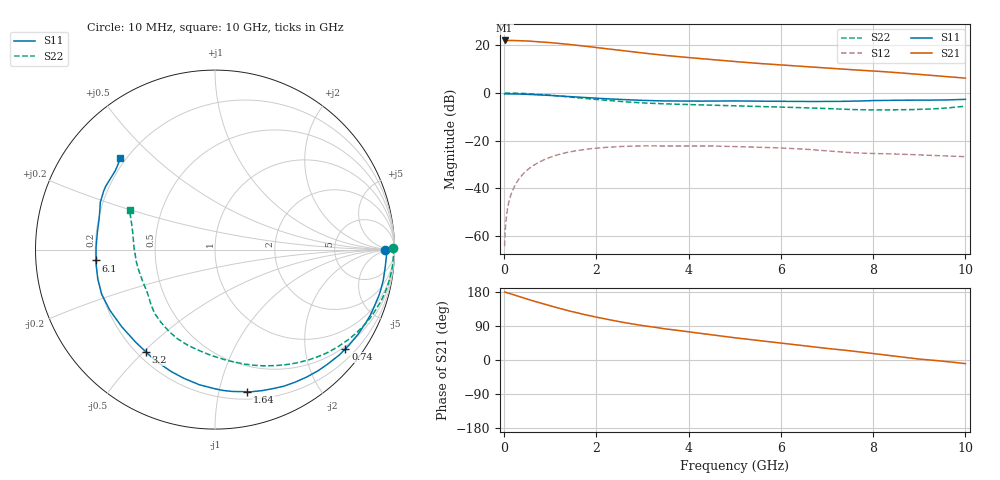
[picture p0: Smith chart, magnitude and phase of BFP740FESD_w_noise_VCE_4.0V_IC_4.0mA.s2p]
! Infineon Technologies  Discrete & RF Semiconductors
! BFP740FESD
! VCE =  4.0 V,  IC =  4.0 mA
! Common Emitter S-Parameters:  Jan 2016
# GHz  S  MA  R  50
!  f  S11  S21  S12  S22
! GHz  MAG  ANG  MAG  ANG  MAG  ANG  MAG  ANG
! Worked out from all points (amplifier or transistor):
!   233 points, 10 MHz to 10 GHz, reference 50 ohm
!   highest |S21| = 22.1 dB at 10 MHz (marker M1)
!   |S21| within 3 dB of that: start of sweep to 2.01 GHz
!   unconditionally stable (mu >= 1): start of sweep to 10.23 MHz; 7.301 GHz to end of sweep
!   at 200 MHz: K = 0.06, MSG = 31.2 dB, |S12| = -40.3 dB
!   at 1.74 GHz: K = 0.17, MSG = 21.7 dB, |S12| = -23.8 dB
!   at 10 GHz: K = 1.57, MAG = 12.1 dB, |S12| = -26.8 dB
!   lowest NFmin = 0.46 dB at 450 MHz
!   S11 on the Smith chart (normalised r, x): 10 MHz: 36, -1; 740 MHz: 0.44, -2.90; 1.64 GHz: 0.26, -1.22; 3.2 GHz: 0.24, -0.51; 6.1 GHz: 0.20, -0.04; 10 GHz: 0.18, +0.39
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0.01  0.9456 -0.1  12.7 179.5  0.0006 22.5  0.9895 0.5
0.02  0.958 -0.9  12.62 179.1  0.0012 53.1  0.9949 -0.7
0.06  0.9546 -3.2  12.61 177.5  0.003 74.8  0.9947 -2.1
0.16  0.9523 -8.2  12.68 173.8  0.0079 81.3  0.9927 -5.7
0.44  0.9395 -22.5  12.45 163.1  0.0211 74.5  0.9737 -15.4
0.74  0.9128 -37.3  11.97 152.0  0.0343 65.4  0.9368 -25.5
1  0.8862 -49.6  11.45 143.0  0.0445 57.8  0.8971 -33.9
1.2  0.8635 -58.7  10.99 136.3  0.0513 52.1  0.863 -40.2
1.4  0.8389 -67.5  10.5 129.8  0.0571 46.6  0.8264 -46.3
1.64  0.8124 -77.2  9.912 122.7  0.0627 40.6  0.7852 -53.0
1.68  0.8078 -78.7  9.81 121.6  0.0636 39.6  0.7787 -54.1
2.04  0.7714 -91.2  8.915 112.1  0.0695 31.9  0.7242 -63.2
2.44  0.7361 -104.1  8.037 102.5  0.0741 24.3  0.6724 -72.8
2.82  0.708 -115.1  7.267 94.3  0.0763 17.9  0.6323 -81.1
3.2  0.6876 -124.0  6.602 87.5  0.077 12.7  0.6051 -87.6
3.4  0.6809 -128.5  6.292 83.9  0.0772 10.2  0.5939 -90.8
4.1  0.6732 -142.4  5.438 72.7  0.0771 3.1  0.5662 -100.2
5.1  0.6769 -160.0  4.496 57.3  0.0743 -6.0  0.5351 -114.1
6.1  0.6655 -174.8  3.833 43.3  0.0689 -13.5  0.5022 -127.4
6.8  0.6613 174.3  3.445 33.5  0.0628 -17.5  0.4771 -137.0
8.4  0.701 152.2  2.727 11.2  0.0523 -15.4  0.4412 -166.2
10  0.7337 135.9  2.049 -9.6  0.0457 -11.5  0.5251 155.1
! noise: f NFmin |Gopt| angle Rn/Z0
0.45  0.46  0.63  6  0.14
2.4  0.64  0.36  45  0.14
5.5  0.85  0.44  128  0.09
10  1.65  0.47  -141  0.15
